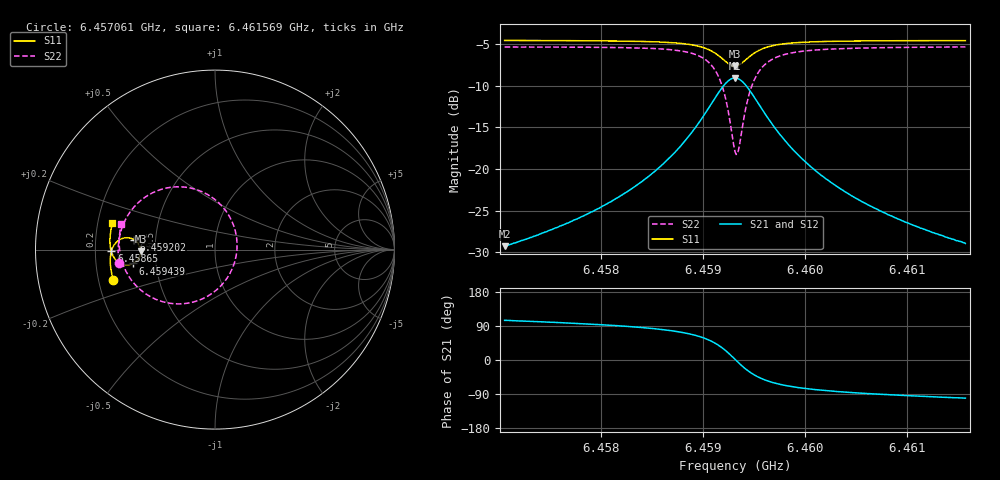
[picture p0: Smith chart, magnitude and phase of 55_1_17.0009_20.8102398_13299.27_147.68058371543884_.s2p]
#  HZ  S  RI  R  50.00
! Rohde & Schwarz Vector Network Analyzer
! Rohde-Schwarz,ZNB20-2Port,1311601062101988,3.16
! Created: UTC 3/20/2024, 10:54:27 PM
! freq[Hz]  re:S11  im:S11  re:S21  im:S21  re:S12  im:S12  re:S22  im:S22
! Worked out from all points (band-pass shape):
!   401 points, 6.457061 GHz to 6.461569 GHz, reference 50 ohm
!   highest |S21| = -9.06 dB at 6.459315 GHz (marker M1); lowest = -29.3 dB at 6.457061 GHz (marker M2)
!   |S21| within 3 dB of the highest: 6.459089 GHz to 6.45954 GHz (450.9 kHz wide, 0.00698 % of centre)
!   lowest |S11| = -7.7 dB at 6.459315 GHz (marker M3), VSWR 2.41, Z = 20.7 - j0.497 ohm
!   |S11| at or under -10 dB: nowhere
!   |S22| runs from -18.3 to -5.3 dB; largest |S21 - S12| = 0.014
!   S11 on the Smith chart (normalised r, x): 6.457061 GHz: 0.26, -0.13; 6.45865 GHz: 0.27, -0.01; 6.459202 GHz: 0.38, +0.05; 6.459439 GHz: 0.37, -0.07; 6.461569 GHz: 0.26, +0.12
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6.4570607e9  -0.5678 -0.1671  -0.0087 0.0332  -0.00693 0.0332  -0.535 -0.0764
6.4578158e9  -0.581 -0.1007  -0.00521 0.0515  -0.00261 0.0508  -0.539 0.0133
6.4582667e9  -0.5835 -0.0547  0.00189 0.0734  0.00524 0.072  -0.5282 0.0871
6.4585709e9  -0.5795 -0.0174  0.0153 0.1007  0.0193 0.0978  -0.5031 0.1585
6.4586498e9  -0.5767 -0.0063  0.0218 0.1107  0.026 0.1072  -0.4906 0.1821
6.4588414e9  -0.5628 0.0245  0.0506 0.1427  0.0546 0.1376  -0.4369 0.2528
6.4589767e9  -0.5408 0.0487  0.0945 0.1712  0.0977 0.1646  -0.3556 0.3125
6.4591119e9  -0.4959 0.066  0.1837 0.1874  0.1844 0.1802  -0.1928 0.3497
6.4592021e9  -0.4504 0.0551  0.2752 0.1547  0.2753 0.149  -0.0235 0.296
6.4592697e9  -0.421 0.022  0.3362 0.0808  0.3384 0.0755  0.0923 0.1622
6.4593148e9  -0.4141 -0.00995  0.3521 0.0114  0.3559 0.00433  0.123 0.0324
6.4593486e9  -0.4184 -0.034  0.3454 -0.0417  0.3495 -0.0514  0.1098 -0.0687
6.4593937e9  -0.4345 -0.0607  0.3159 -0.1024  0.3181 -0.1148  0.0494 -0.183
6.4594387e9  -0.4569 -0.0773  0.2727 -0.1438  0.2718 -0.1574  -0.038 -0.2578
6.4595289e9  -0.5011 -0.0842  0.1861 -0.1745  0.1799 -0.1864  -0.2102 -0.3024
6.4595965e9  -0.5259 -0.0769  0.1372 -0.1723  0.1289 -0.1813  -0.3047 -0.2863
6.4596754e9  -0.5457 -0.0638  0.0971 -0.1599  0.0884 -0.1661  -0.3795 -0.2506
6.4598332e9  -0.5676 -0.036  0.0517 -0.1313  0.0439 -0.134  -0.4603 -0.1771
6.4600699e9  -0.5806 -0.000531  0.0223 -0.0991  0.0164 -0.0996  -0.5083 -0.0936
6.460408e9  -0.5853 0.0403  0.00608 -0.0717  0.00206 -0.0712  -0.5296 -0.014
6.460825e9  -0.5836 0.0825  -0.00162 -0.0528  -0.00438 -0.0519  -0.5336 0.0541
6.4615688e9  -0.572 0.1487  -0.00652 -0.0351  -0.00843 -0.0342  -0.5223 0.1431
